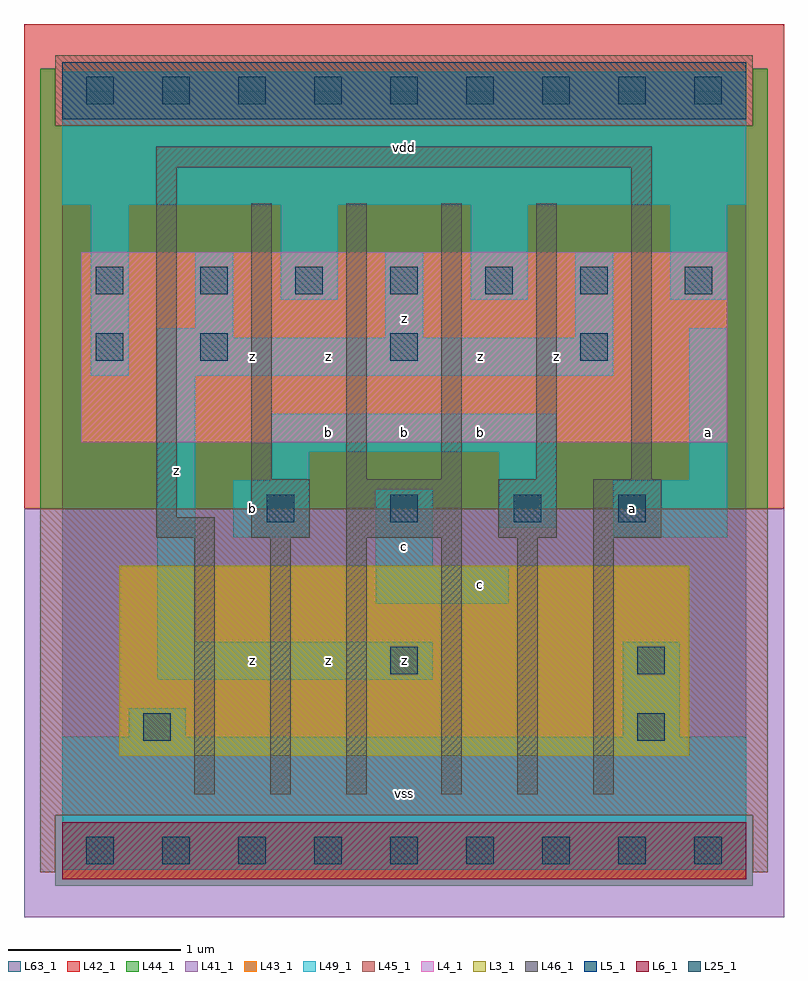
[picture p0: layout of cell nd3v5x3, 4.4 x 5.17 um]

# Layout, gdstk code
import gdstk
lib = gdstk.Library(unit=1e-6, precision=1e-09)
def R(c, l, rs):  # rectangles x0, y0, x1, y1
    for r in rs: c.add(gdstk.rectangle(r[:2], r[2:], *l))
def A(c, l, x, y, w, h, nx, ny, dx, dy):  # array of equal rectangles
    R(c, l, [(x+i*dx, y+j*dy, x+i*dx+w, y+j*dy+h) for i in range(nx) for j in range(ny)])
L3_1 = (3, 1)
L4_1 = (4, 1)
L5_1 = (5, 1)
L6_1 = (6, 1)
L25_1 = (25, 1)
L41_1 = (41, 1)
L42_1 = (42, 1)
L43_1 = (43, 1)
L44_1 = (44, 1)
L45_1 = (45, 1)
L46_1 = (46, 1)
L49_1 = (49, 1)
L63_1 = (63, 1)

nd3v5x3 = lib.new_cell('nd3v5x3')
R(nd3v5x3, L3_1, [(0.33,0.55,3.63,1.65)])
R(nd3v5x3, L4_1, [(0.11,2.365,3.85,3.465)])
R(nd3v5x3, L5_1, [(0,4.235,3.96,4.565)])
R(nd3v5x3, L6_1, [(0,-0.165,3.96,0.165)])
A(nd3v5x3, L25_1, 0.14, -0.08, 0.16, 0.16, 9, 2, 0.44, 4.4)
A(nd3v5x3, L25_1, 1.185, 1.9, 0.16, 0.16, 3, 1, 0.715, 0)
A(nd3v5x3, L25_1, 0.8, 2.835, 0.16, 0.16, 3, 1, 1.1, 0)
A(nd3v5x3, L25_1, 0.8, 3.22, 0.16, 0.16, 5, 1, 0.55, 0)
R(nd3v5x3, L25_1, [(0.47,0.635,0.63,0.795), (3.33,0.635,3.49,0.795), (1.9,1.02,2.06,1.18), (3.33,1.02,3.49,1.18), (3.22,1.9,3.38,2.06), (0.195,2.835,0.355,2.995), (0.195,3.22,0.355,3.38), (3.605,3.22,3.765,3.38)])
R(nd3v5x3, L41_1, [(-0.22,-0.385,4.18,1.98)])
R(nd3v5x3, L42_1, [(-0.22,1.98,4.18,4.785)])
R(nd3v5x3, L43_1, [(0,-0.165,3.96,0.165), (0.33,0.55,3.63,1.65), (0.11,2.365,3.85,3.465), (0,4.235,3.96,4.565)])
R(nd3v5x3, L44_1, [(-0.04,-0.205,4,0.205), (-0.125,1.98,4.085,4.195), (-0.125,4.195,-0.04,4.525), (4,4.195,4.085,4.525)])
R(nd3v5x3, L45_1, [(-0.125,-0.125,-0.04,0.205), (4,-0.125,4.085,0.205), (-0.125,0.205,4.085,1.98), (-0.04,4.195,4,4.605)])
A(nd3v5x3, L46_1, 0.765, 0.325, 0.12, 1.485, 3, 1, 0.44, 0)
A(nd3v5x3, L46_1, 2.195, 0.325, 0.12, 1.485, 3, 1, 0.44, 0)
A(nd3v5x3, L46_1, 1.095, 2.15, 0.12, 1.595, 4, 1, 0.55, 0)
R(nd3v5x3, L46_1, [(0.545,1.81,0.885,1.93), (1.095,1.81,1.435,2.15), (1.645,1.81,2.315,2.15), (2.525,1.81,2.865,2.15), (3.075,1.81,3.47,2.15), (0.545,1.93,0.665,3.955), (3.295,2.15,3.415,3.955), (0.545,3.955,3.415,4.075)])
R(nd3v5x3, L49_1, [(0,-0.11,3.96,0.66), (0.385,0.66,0.715,0.825), (3.245,0.66,3.575,1.21), (0.55,0.99,2.145,1.21), (0.55,1.21,0.77,2.75), (1.815,1.43,2.585,1.65), (1.815,1.65,2.145,2.09), (0.99,1.815,1.43,2.145), (3.19,1.815,3.85,2.145), (2.53,1.87,2.86,2.31), (1.21,2.145,1.43,2.31), (3.63,2.145,3.85,3.025), (1.21,2.31,2.86,2.53), (0.165,2.75,0.385,3.74), (0.55,2.75,3.19,2.97), (0.55,2.97,0.99,3.025), (1.87,2.97,2.09,3.465), (2.97,2.97,3.19,3.465), (0.77,3.025,0.99,3.465), (1.265,3.19,1.595,3.74), (2.365,3.19,2.695,3.74), (3.52,3.19,3.85,3.74), (0,3.74,3.96,4.51)])
R(nd3v5x3, L63_1, [(0,0,3.96,4.4)])
nd3v5x3.add(gdstk.Label('z', (1.1,1.1), layer=49, texttype=1))
nd3v5x3.add(gdstk.Label('z', (0.66,2.2), layer=49, texttype=1))
nd3v5x3.add(gdstk.Label('b', (1.1,1.98), layer=49, texttype=1))
nd3v5x3.add(gdstk.Label('z', (1.1,2.86), layer=49, texttype=1))
nd3v5x3.add(gdstk.Label('vss', (1.98,0.33), layer=49, texttype=1))
nd3v5x3.add(gdstk.Label('z', (1.54,1.1), layer=49, texttype=1))
nd3v5x3.add(gdstk.Label('z', (1.98,1.1), layer=49, texttype=1))
nd3v5x3.add(gdstk.Label('c', (1.98,1.76), layer=49, texttype=1))
nd3v5x3.add(gdstk.Label('b', (1.54,2.42), layer=49, texttype=1))
nd3v5x3.add(gdstk.Label('b', (1.98,2.42), layer=49, texttype=1))
nd3v5x3.add(gdstk.Label('z', (1.54,2.86), layer=49, texttype=1))
nd3v5x3.add(gdstk.Label('z', (1.98,3.08), layer=49, texttype=1))
nd3v5x3.add(gdstk.Label('vdd', (1.98,4.07), layer=49, texttype=1))
nd3v5x3.add(gdstk.Label('c', (2.42,1.54), layer=49, texttype=1))
nd3v5x3.add(gdstk.Label('b', (2.42,2.42), layer=49, texttype=1))
nd3v5x3.add(gdstk.Label('z', (2.86,2.86), layer=49, texttype=1))
nd3v5x3.add(gdstk.Label('z', (2.42,2.86), layer=49, texttype=1))
nd3v5x3.add(gdstk.Label('a', (3.3,1.98), layer=49, texttype=1))
nd3v5x3.add(gdstk.Label('a', (3.74,2.42), layer=49, texttype=1))

lib.write_gds('nd3v5x3.gds')
